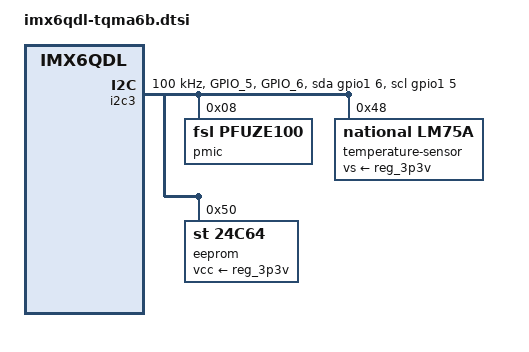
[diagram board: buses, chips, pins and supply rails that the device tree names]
// SPDX-License-Identifier: GPL-2.0-or-later
/*
 * Copyright 2013 Sascha Hauer, Pengutronix
 * Copyright 2013-2017 Markus Niebel <Markus.Niebel@tq-group.com>
 */

#include <dt-bindings/gpio/gpio.h>

&i2c3 {
	pinctrl-names = "default", "gpio";
	pinctrl-0 = <&pinctrl_i2c3>;
	pinctrl-1 = <&pinctrl_i2c3_recovery>;
	scl-gpios = <&gpio1 5 (GPIO_ACTIVE_HIGH | GPIO_OPEN_DRAIN)>;
	sda-gpios = <&gpio1 6 (GPIO_ACTIVE_HIGH | GPIO_OPEN_DRAIN)>;
	clock-frequency = <100000>;
	status = "okay";

	pmic: pmic@8 {
		compatible = "fsl,pfuze100";
		reg = <0x08>;
	};

	temperature-sensor@48 {
		compatible = "national,lm75a";
		reg = <0x48>;
		vs-supply = <&reg_3p3v>;
	};

	eeprom@50 {
		compatible = "st,24c64", "atmel,24c64";
		reg = <0x50>;
		pagesize = <32>;
		vcc-supply = <&reg_3p3v>;
	};
};

&iomuxc {
	pinctrl_i2c3: i2c3grp {
		fsl,pins = <
			MX6QDL_PAD_GPIO_5__I2C3_SCL 0x4001b899
			MX6QDL_PAD_GPIO_6__I2C3_SDA 0x4001b899
		>;
	};

	pinctrl_i2c3_recovery: i2c3recoverygrp {
		fsl,pins = <
			MX6QDL_PAD_GPIO_5__GPIO1_IO05 0x4001b899
			MX6QDL_PAD_GPIO_6__GPIO1_IO06 0x4001b899
		>;
	};
};
